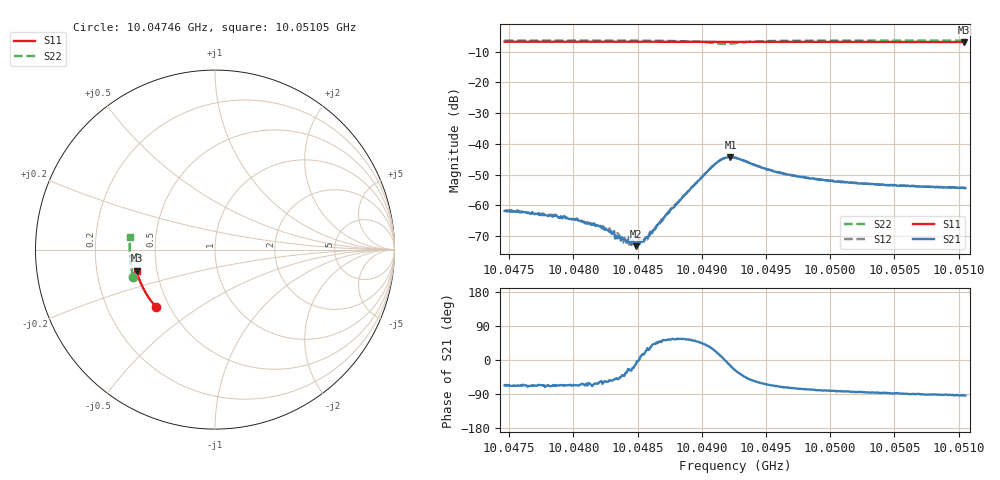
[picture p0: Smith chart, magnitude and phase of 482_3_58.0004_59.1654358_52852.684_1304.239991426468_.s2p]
#  HZ  S  RI  R  50.00
! Rohde & Schwarz Vector Network Analyzer
! Rohde-Schwarz,ZNB20-2Port,1311601062101988,3.16
! Created: UTC 3/21/2024, 1:11:55 AM
! freq[Hz]  re:S11  im:S11  re:S21  im:S21  re:S12  im:S12  re:S22  im:S22
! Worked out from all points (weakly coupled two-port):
!   401 points, 10.04746 GHz to 10.05105 GHz, reference 50 ohm
!   highest |S21| = -44.32 dB at 10.04922 GHz (marker M1); lowest = -73.3 dB at 10.04849 GHz (marker M2)
!   lowest |S11| = -6.9 dB at 10.05104 GHz (marker M3), VSWR 2.65, Z = 19.1 - j5.67 ohm
!   |S11| at or under -10 dB: nowhere
!   |S22| runs from -7.5 to -6.4 dB; largest |S21 - S12| = 0.00044
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1.0047465e10  -0.3262 -0.3221  0.000321 -0.000747  0.000355 -0.000746  -0.4542 -0.1522
1.004785e10  -0.3429 -0.3027  0.000255 -0.000645  0.000297 -0.000635  -0.4611 -0.1265
1.0048066e10  -0.352 -0.2918  0.000259 -0.000502  0.000269 -0.000489  -0.4644 -0.1117
1.00482e10  -0.3571 -0.2849  0.000233 -0.000392  0.000254 -0.000371  -0.466 -0.1019
1.0048299e10  -0.3611 -0.2796  0.000201 -0.00028  0.000231 -0.000262  -0.467 -0.0948
1.0048335e10  -0.3626 -0.2777  0.000213 -0.000237  0.000249 -0.000253  -0.4673 -0.092
1.0048371e10  -0.3638 -0.2756  0.000188 -0.00019  0.000242 -0.000174  -0.4677 -0.0893
1.0048433e10  -0.3663 -0.2723  0.000279 -0.000124  0.000215 -8.05e-05  -0.4683 -0.0845
1.0048487e10  -0.3682 -0.2694  0.000214 -3.99e-05  0.00023 -1.73e-05  -0.4685 -0.0801
1.0048523e10  -0.3695 -0.2675  0.000259 4.29e-05  0.000266 5.6e-05  -0.4686 -0.0771
1.0048568e10  -0.3713 -0.2649  0.000276 0.00013  0.000272 0.000133  -0.4687 -0.0734
1.0048667e10  -0.3748 -0.2596  0.000339 0.000383  0.000305 0.000368  -0.4684 -0.0645
1.0048864e10  -0.3818 -0.2485  0.000828 0.0012  0.000752 0.00125  -0.464 -0.0446
1.0049088e10  -0.3889 -0.2358  0.00388 0.00204  0.00375 0.00232  -0.4347 -0.0261
1.004916e10  -0.3911 -0.2317  0.00564 0.000629  0.00558 0.000955  -0.42 -0.0376
1.0049223e10  -0.393 -0.2283  0.00586 -0.00163  0.00598 -0.00123  -0.4211 -0.0554
1.0049259e10  -0.3941 -0.2263  0.00531 -0.00268  0.00553 -0.00232  -0.4279 -0.0626
1.0049564e10  -0.4036 -0.2087  0.00132 -0.00329  0.00154 -0.00326  -0.4679 -0.0436
1.004986e10  -0.4118 -0.191  0.000557 -0.00271  0.000704 -0.00265  -0.4746 -0.0167
1.0050461e10  -0.4259 -0.1541  8.45e-05 -0.00213  0.000219 -0.00211  -0.4754 0.0283
1.0051044e10  -0.4365 -0.1177  -0.00013 -0.00189  6.65e-06 -0.00194  -0.4712 0.0681
1.0051053e10  -0.4368 -0.1171  -0.000117 -0.0019  3.94e-06 -0.00192  -0.4712 0.0686
